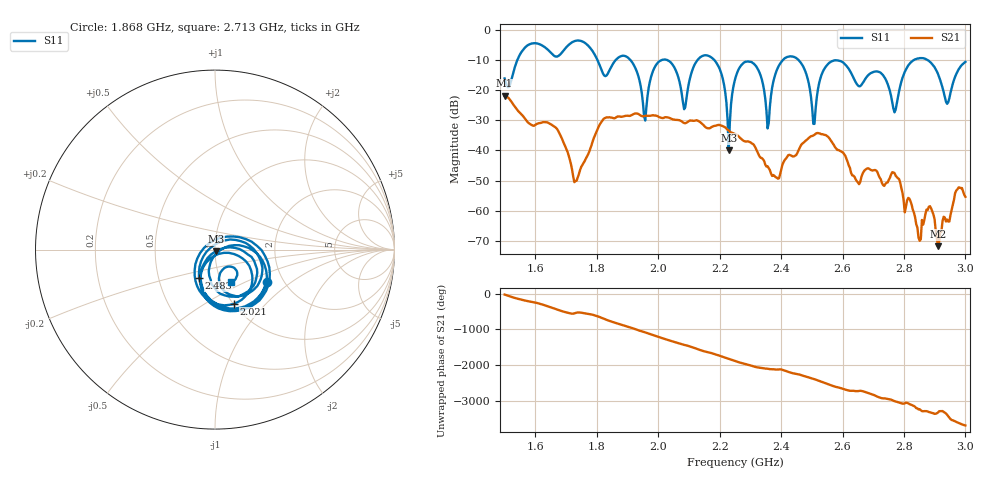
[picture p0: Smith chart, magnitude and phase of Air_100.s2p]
# HZ S RI R 50
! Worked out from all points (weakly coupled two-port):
!   404 points, 1.5 GHz to 3 GHz, reference 50 ohm
!   highest |S21| = -21.90 dB at 1.5 GHz (marker M1); lowest = -71.7 dB at 2.911 GHz (marker M2)
!   lowest |S11| = -40.0 dB at 2.23 GHz (marker M3), VSWR 1.02, Z = 50.4 - j0.933 ohm
!   |S11| at or under -10 dB: 2.182 GHz to 2.407 GHz (224.7 MHz wide, 9.79 % of centre); 2.456 GHz to 2.834 GHz (377.4 MHz wide, 14.3 % of centre); 2.875 GHz to end of sweep (the widest 3 of 7)
!   S12 and S22 are empty: the file has one direction only
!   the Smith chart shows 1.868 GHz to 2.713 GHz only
!   S11 on the Smith chart (normalised r, x): 1.868 GHz: 1.64, -0.66; 2.021 GHz: 1.00, -0.68; 2.483 GHz: 0.80, -0.26; 2.713 GHz: 1.12, -0.42
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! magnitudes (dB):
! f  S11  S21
! 1.5 GHz  -16.2  -21.9
! 1.578 GHz  -5.0  -30.9
! 1.753 GHz  -3.9  -44.8
! 1.868 GHz  -9.4  -28.7
! 1.958 GHz  -30.1  -28.5
! 2.002 GHz  -10.6  -29.0
! 2.021 GHz  -9.9  -29.0
! 2.084 GHz  -26.3  -30.9
! 2.177 GHz  -9.6  -32.1
! 2.23 GHz  -40.0  -33.4
! 2.252 GHz  -15.8  -34.6
! 2.315 GHz  -11.7  -38.8
! 2.356 GHz  -32.7  -45.2
! 2.386 GHz  -13.5  -49.0
! 2.483 GHz  -14.9  -36.6
! 2.501 GHz  -26.0  -35.2
! 2.565 GHz  -10.5  -37.0
! 2.713 GHz  -13.9  -47.1
! 2.751 GHz  -19.1  -49.7
! 2.911 GHz  -14.6  -71.7
! 2.94 GHz  -24.6  -62.8
! 3 GHz  -10.7  -55.3
